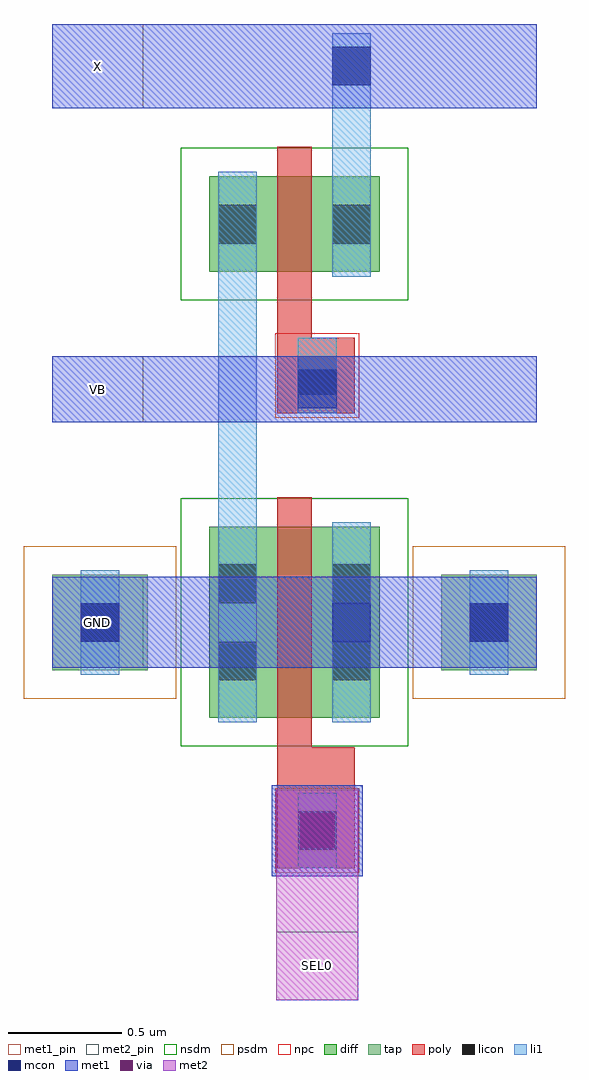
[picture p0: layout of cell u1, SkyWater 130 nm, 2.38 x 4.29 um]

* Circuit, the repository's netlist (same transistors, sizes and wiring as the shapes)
* NGSPICE file created from u1.ext - technology: sky130A

.subckt u1 SEL0 X VB GND
X0 X VB a_138_n392# GND sky130_fd_pr__nfet_01v8 ad=0.126 pd=1.44 as=0.126 ps=1.44 w=0.42 l=0.15
X1 GND SEL0 a_138_n392# GND sky130_fd_pr__nfet_01v8 ad=0.252 pd=2.28 as=0.252 ps=2.28 w=0.84 l=0.15
.ends

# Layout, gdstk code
import gdstk
lib = gdstk.Library(unit=1e-6, precision=1e-09)
def R(c, l, rs):  # rectangles x0, y0, x1, y1
    for r in rs: c.add(gdstk.rectangle(r[:2], r[2:], *l))
diff = (65, 20)
tap = (65, 44)
poly = (66, 20)
licon = (66, 44)
li1 = (67, 20)
mcon = (67, 44)
met1_pin = (68, 16)
met1 = (68, 20)
via = (68, 44)
met2_pin = (69, 16)
met2 = (69, 20)
nsdm = (93, 44)
psdm = (94, 20)
npc = (95, 20)

c_u1 = lib.new_cell('u1')
R(c_u1, diff, [(0.69,-1.96,1.44,-1.12), (0.69,0,1.44,0.42)])
R(c_u1, tap, [(0,-1.75,0.42,-1.33), (1.71,-1.75,2.13,-1.33)])
R(c_u1, poly, [(0.99,-2.62,1.33,-2.09), (0.99,-2.09,1.14,-0.99), (0.99,-0.62,1.33,-0.29), (0.99,-0.29,1.14,0.55)])
R(c_u1, licon, [(1.08,-2.54,1.25,-2.37), (0.73,-1.795,0.9,-1.625), (1.23,-1.795,1.4,-1.625), (0.125,-1.625,0.295,-1.455), (1.835,-1.625,2.005,-1.455), (0.73,-1.455,0.9,-1.285), (1.23,-1.455,1.4,-1.285), (1.08,-0.54,1.25,-0.37), (0.73,0.125,0.9,0.295), (1.23,0.125,1.4,0.295)])
R(c_u1, li1, [(1.08,-2.62,1.25,-2.29), (0.73,-1.98,0.9,0.44), (1.23,-1.98,1.4,-1.1), (0.125,-1.77,0.295,-1.31), (1.835,-1.77,2.005,-1.31), (1.08,-0.62,1.25,-0.29), (1.23,-0.02,1.4,1.05)])
R(c_u1, mcon, [(1.08,-2.54,1.25,-2.37), (0.125,-1.625,0.295,-1.455), (1.23,-1.625,1.4,-1.455), (1.835,-1.625,2.005,-1.455), (1.08,-0.6,1.25,-0.43), (1.23,0.82,1.4,0.99)])
R(c_u1, met1_pin, [(0,-1.74,0.4,-1.34), (0,-0.66,0.4,-0.37), (0,0.72,0.4,1.09)])
R(c_u1, met1, [(0.965,-2.655,1.365,-2.255), (0,-1.74,2.13,-1.34), (0,-0.66,2.13,-0.37), (0,0.72,2.13,1.09)])
R(c_u1, via, [(1.09,-2.53,1.24,-2.38)])
R(c_u1, met2_pin, [(0.985,-3.2,1.345,-2.9)])
R(c_u1, met2, [(0.985,-3.2,1.345,-2.275)])
R(c_u1, nsdm, [(0.565,-2.085,1.565,-0.995), (0.565,-0.125,1.565,0.545)])
R(c_u1, psdm, [(-0.125,-1.875,0.545,-1.205), (1.585,-1.875,2.255,-1.205)])
R(c_u1, npc, [(0.98,-2.64,1.35,-2.27), (0.98,-0.64,1.35,-0.27)])
c_u1.add(gdstk.Label('SEL0', (1.165,-3.05), layer=69, texttype=5))
c_u1.add(gdstk.Label('X', (0.2,0.905), layer=68, texttype=5))
c_u1.add(gdstk.Label('VB', (0.2,-0.515), layer=68, texttype=5))
c_u1.add(gdstk.Label('GND', (0.2,-1.54), layer=68, texttype=5))

lib.write_gds('u1.gds')
